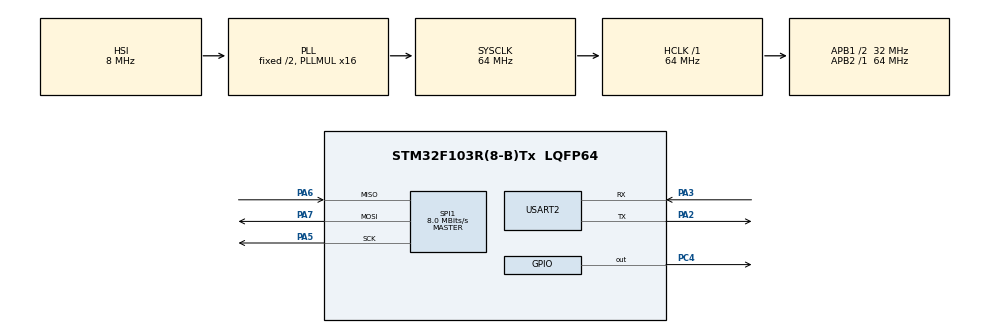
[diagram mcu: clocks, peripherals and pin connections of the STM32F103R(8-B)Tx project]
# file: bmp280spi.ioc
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Mcu.Family=STM32F1
Mcu.Name=STM32F103R(8-B)Tx
Mcu.Package=LQFP64
NVIC.PriorityGroup=NVIC_PRIORITYGROUP_4
PA2.GPIO_Speed=GPIO_SPEED_FREQ_LOW
PA2.Mode=Asynchronous
PA2.Signal=USART2_TX
PA3.Mode=Asynchronous
PA3.Signal=USART2_RX
PA5.Mode=Full_Duplex_Master
PA5.Signal=SPI1_SCK
PA6.Mode=Full_Duplex_Master
PA6.Signal=SPI1_MISO
PA7.Mode=Full_Duplex_Master
PA7.Signal=SPI1_MOSI
PC4.Signal=GPIO_Output
ProjectManager.HeapSize=0x200
ProjectManager.StackSize=0x400
ProjectManager.TargetToolchain=STM32CubeIDE
RCC.AHBFreq_Value=64000000
RCC.APB1CLKDivider=RCC_HCLK_DIV2
RCC.APB1Freq_Value=32000000
RCC.APB1TimFreq_Value=64000000
RCC.APB2Freq_Value=64000000
RCC.APB2TimFreq_Value=64000000
RCC.HCLKFreq_Value=64000000
RCC.PLLMUL=RCC_PLL_MUL16
RCC.SYSCLKFreq_VALUE=64000000
RCC.SYSCLKSource=RCC_SYSCLKSOURCE_PLLCLK
RCC.USBFreq_Value=64000000
SPI1.BaudRatePrescaler=SPI_BAUDRATEPRESCALER_8
SPI1.CalculateBaudRate=8.0 MBits/s
SPI1.Direction=SPI_DIRECTION_2LINES
SPI1.Mode=SPI_MODE_MASTER
SPI1.VirtualType=VM_MASTER
USART2.VirtualMode=VM_ASYNC
VP_SYS_VS_ND.Mode=No_Debug
board=custom

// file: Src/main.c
/* USER CODE BEGIN Header */
/**
  ******************************************************************************
  * @file           : main.c
  * @brief          : Main program body
  ******************************************************************************
  * @attention
  *
  * <h2><center>&copy; Copyright (c) 2019 STMicroelectronics.
  * All rights reserved.</center></h2>
  *
  * This software component is licensed by ST under BSD 3-Clause license,
  * the "License"; You may not use this file except in compliance with the
  * License. You may obtain a copy of the License at:
  *                        opensource.org/licenses/BSD-3-Clause
  *
  ******************************************************************************
  */
/* USER CODE END Header */

#include "main.h"

/* USER CODE BEGIN Includes */
#include <string.h>
#include "bmp.h"
/* USER CODE END Includes */

SPI_HandleTypeDef hspi1;

UART_HandleTypeDef huart2;

void SystemClock_Config(void);
static void MX_GPIO_Init(void);
static void MX_SPI1_Init(void);
static void MX_USART2_UART_Init(void);

/* USER CODE BEGIN 0 */
void send_uart(char *s){
HAL_UART_Transmit(&huart2,  (uint8_t*)s, strlen(s), 1000);
}
void clear_buffer(char *s){
	for(int i=0;i<strlen(s);i++){
		s[i] = ' ';
	}
}
/* USER CODE END 0 */

int main(void)
{

  /* MCU Configuration--------------------------------------------------------*/

  /* Reset of all peripherals, Initializes the Flash interface and the Systick. */
    HAL_Init();

  /* Configure the system clock */
  SystemClock_Config();

  /* Initialize all configured peripherals */
  MX_GPIO_Init();
  MX_SPI1_Init();
  MX_USART2_UART_Init();
  /* USER CODE BEGIN 2 */
  if(BMP_begin()){
	  send_uart("Udalo sie\r\n");
  }else{
	  send_uart("Udalo sie nie\r\n");
  }
  BMP_read_coefficients();
  BMP_sample();
  send_uart("START\r\n");
  /* USER CODE END 2 */

  /* Infinite loop */
  /* USER CODE BEGIN WHILE */
  int temp, press;
  char buffer[64];

  while (1)
  {

    /* USER CODE END WHILE */

    /* USER CODE BEGIN 3 */
	  temp = BMP_read_temp();
	  press = BMP_read_press();
	  	  	  itoa(temp, &buffer, 10);

	  	  	  send_uart(buffer);
	  	  	  send_uart(" *C\r\n");
	  	  	clear_buffer(buffer);
	  	  itoa(press, &buffer, 10);
	  	send_uart(buffer);
	  	send_uart(" Pa\r\n");
	  	  	  HAL_Delay(1000);
	  	  	clear_buffer(buffer);
  }
  /* USER CODE END 3 */
}

void SystemClock_Config(void)
{
  RCC_OscInitTypeDef RCC_OscInitStruct = {0};
  RCC_ClkInitTypeDef RCC_ClkInitStruct = {0};

  /** Initializes the CPU, AHB and APB busses clocks
  */
  RCC_OscInitStruct.OscillatorType = RCC_OSCILLATORTYPE_HSI;
  RCC_OscInitStruct.HSIState = RCC_HSI_ON;
  RCC_OscInitStruct.HSICalibrationValue = RCC_HSICALIBRATION_DEFAULT;
  RCC_OscInitStruct.PLL.PLLState = RCC_PLL_ON;
  RCC_OscInitStruct.PLL.PLLSource = RCC_PLLSOURCE_HSI_DIV2;
  RCC_OscInitStruct.PLL.PLLMUL = RCC_PLL_MUL16;
  if (HAL_RCC_OscConfig(&RCC_OscInitStruct) != HAL_OK)
  {
    Error_Handler();
  }
  /** Initializes the CPU, AHB and APB busses clocks
  */
  RCC_ClkInitStruct.ClockType = RCC_CLOCKTYPE_HCLK|RCC_CLOCKTYPE_SYSCLK
                              |RCC_CLOCKTYPE_PCLK1|RCC_CLOCKTYPE_PCLK2;
  RCC_ClkInitStruct.SYSCLKSource = RCC_SYSCLKSOURCE_PLLCLK;
  RCC_ClkInitStruct.AHBCLKDivider = RCC_SYSCLK_DIV1;
  RCC_ClkInitStruct.APB1CLKDivider = RCC_HCLK_DIV2;
  RCC_ClkInitStruct.APB2CLKDivider = RCC_HCLK_DIV1;

  if (HAL_RCC_ClockConfig(&RCC_ClkInitStruct, FLASH_LATENCY_2) != HAL_OK)
  {
    Error_Handler();
  }
}

static void MX_SPI1_Init(void)
{

  /* SPI1 parameter configuration*/
  hspi1.Instance = SPI1;
  hspi1.Init.Mode = SPI_MODE_MASTER;
  hspi1.Init.Direction = SPI_DIRECTION_2LINES;
  hspi1.Init.DataSize = SPI_DATASIZE_8BIT;
  hspi1.Init.CLKPolarity = SPI_POLARITY_LOW;
  hspi1.Init.CLKPhase = SPI_PHASE_1EDGE;
  hspi1.Init.NSS = SPI_NSS_SOFT;
  hspi1.Init.BaudRatePrescaler = SPI_BAUDRATEPRESCALER_8;
  hspi1.Init.FirstBit = SPI_FIRSTBIT_MSB;
  hspi1.Init.TIMode = SPI_TIMODE_DISABLE;
  hspi1.Init.CRCCalculation = SPI_CRCCALCULATION_DISABLE;
  hspi1.Init.CRCPolynomial = 10;
  if (HAL_SPI_Init(&hspi1) != HAL_OK)
  {
    Error_Handler();
  }

}

static void MX_USART2_UART_Init(void)
{

  huart2.Instance = USART2;
  huart2.Init.BaudRate = 115200;
  huart2.Init.WordLength = UART_WORDLENGTH_8B;
  huart2.Init.StopBits = UART_STOPBITS_1;
  huart2.Init.Parity = UART_PARITY_NONE;
  huart2.Init.Mode = UART_MODE_TX_RX;
  huart2.Init.HwFlowCtl = UART_HWCONTROL_NONE;
  huart2.Init.OverSampling = UART_OVERSAMPLING_16;
  if (HAL_UART_Init(&huart2) != HAL_OK)
  {
    Error_Handler();
  }

}

static void MX_GPIO_Init(void)
{
  GPIO_InitTypeDef GPIO_InitStruct = {0};

  /* GPIO Ports Clock Enable */
  __HAL_RCC_GPIOA_CLK_ENABLE();
  __HAL_RCC_GPIOC_CLK_ENABLE();

  /*Configure GPIO pin Output Level */
  HAL_GPIO_WritePin(GPIOC, GPIO_PIN_4, GPIO_PIN_RESET);

  /*Configure GPIO pin : PC4 */
  GPIO_InitStruct.Pin = GPIO_PIN_4;
  GPIO_InitStruct.Mode = GPIO_MODE_OUTPUT_PP;
  GPIO_InitStruct.Pull = GPIO_NOPULL;
  GPIO_InitStruct.Speed = GPIO_SPEED_FREQ_LOW;
  HAL_GPIO_Init(GPIOC, &GPIO_InitStruct);

}

void Error_Handler(void)
{
}

/************************ (C) COPYRIGHT STMicroelectronics *****END OF FILE****/
